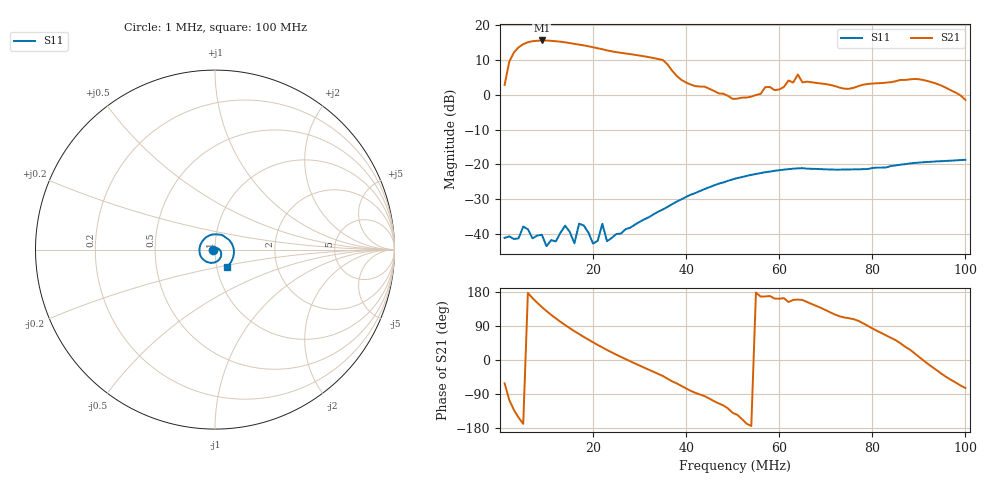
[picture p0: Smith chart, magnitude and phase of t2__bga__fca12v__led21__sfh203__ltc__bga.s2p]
# HZ S RI R 50
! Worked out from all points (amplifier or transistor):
!   100 points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, 1 MHz to 100 MHz, reference 50 ohm
!   highest |S21| = 15.6 dB at 9 MHz (marker M1)
!   |S21| within 3 dB of that: 3.302 MHz to 23.56 MHz (20.25 MHz wide, 151 % of centre)
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1000001  -0.00881 0.000542  0.6593 -1.216  0 0  0 0
2000001  -0.00921 0.00116  -0.7953 -2.879  0 0  0 0
3000001  -0.00846 0.000942  -2.705 -3.013  0 0  0 0
5000001  -0.0128 0.000445  -5.217 -1.061  0 0  0 0
7000001  -0.00788 0.0037  -5.63 1.69  0 0  0 0
9000001  -0.00726 0.00657  -4.595 3.885  0 0  0 0
1.1e7  -0.00581 0.00579  -2.902 5.185  0 0  0 0
1.3e7  -0.00676 0.00798  -1.085 5.669  0 0  0 0
1.8e7  -0.00795 0.0107  2.483 4.472  0 0  0 0
2.1e7  -0.000398 0.00802  3.576 2.971  0 0  0 0
2.5e7  0.00449 0.00899  3.965 0.9892  0 0  0 0
2.9e7  0.0109 0.0083  3.696 -0.5895  0 0  0 0
3.4e7  0.0207 0.0036  2.613 -1.946  0 0  0 0
4e7  0.0323 -0.0113  0.3851 -1.444  0 0  0 0
5.1e7  0.0172 -0.0613  -0.7174 -0.5075  0 0  0 0
6e7  -0.049 -0.0667  -1.13 0.3742  0 0  0 0
6.4e7  -0.079 -0.0385  -1.826 0.6851  0 0  0 0
6.7e7  -0.0864 -0.00418  -1.276 0.8073  0 0  0 0
8.4e7  0.0772 0.0554  0.7933 1.291  0 0  0 0
9.1e7  0.105 -0.0234  1.627 -0.0367  0 0  0 0
9.5e7  0.0931 -0.0612  1.064 -0.8149  0 0  0 0
1e8  0.0675 -0.0949  0.2348 -0.8114  0 0  0 0
